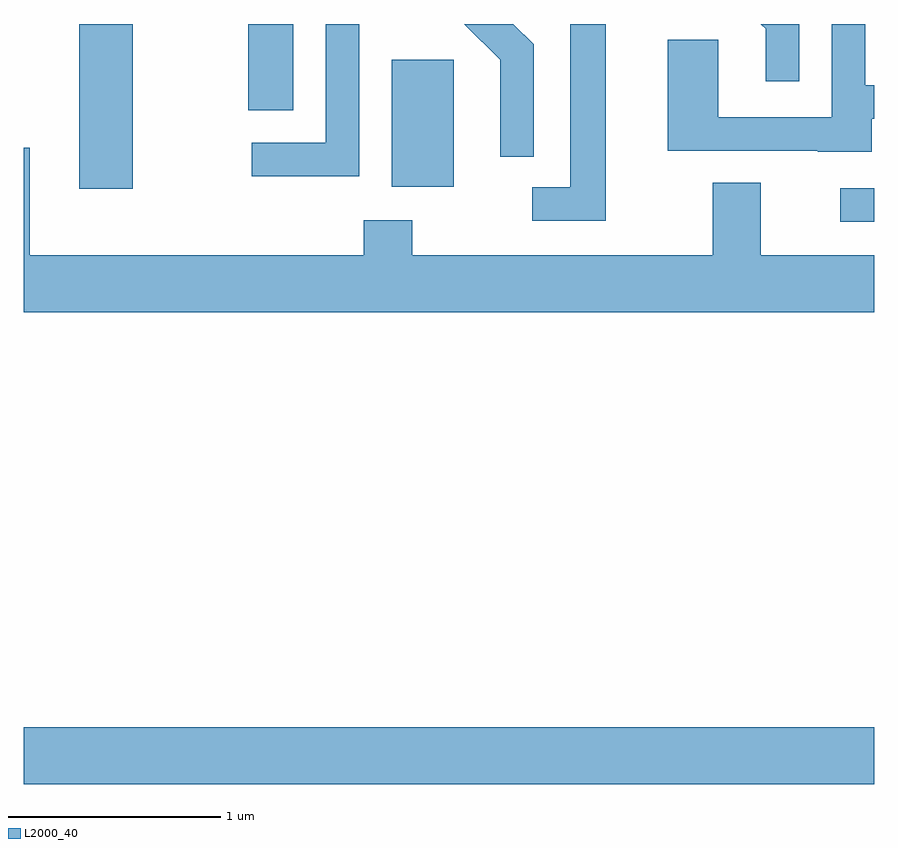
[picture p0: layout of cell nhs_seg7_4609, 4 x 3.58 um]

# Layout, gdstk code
import gdstk
lib = gdstk.Library(unit=1e-6, precision=1e-09)
def R(c, l, rs):  # rectangles x0, y0, x1, y1
    for r in rs: c.add(gdstk.rectangle(r[:2], r[2:], *l))
def P(c, l, *ps):  # polygons
    for p in ps: c.add(gdstk.Polygon(p, *l))
L2000_40 = (2000, 40)

nhs_seg7_4609 = lib.new_cell('nhs_seg7_4609')
R(nhs_seg7_4609, L2000_40, [(325.611,1798.676,329.611,1798.944), (329.453,1801.321,329.611,1801.479), (325.871,1801.476,326.124,1802.252), (327.341,1801.486,327.634,1802.084), (326.666,1801.846,326.879,1802.252)])
P(nhs_seg7_4609, L2000_40, [(328.349,1802.252),(328.181,1802.252),(328.181,1801.484),(328.003,1801.484),(328.003,1801.326),(328.349,1801.326)],
  [(329.259,1802.252),(329.078,1802.252),(329.101,1802.229),(329.101,1801.983),(329.259,1801.983)],
  [(329.599,1801.806),(329.611,1801.806),(329.611,1801.964),(329.569,1801.964),(329.569,1802.252),(329.411,1802.252),(329.411,1801.814),(328.879,1801.814),(328.879,1802.179),(328.641,1802.179),(328.641,1801.656),(329.345,1801.656),(329.345,1801.651),(329.599,1801.651)],
  [(327.189,1802.252),(327.031,1802.252),(327.031,1801.694),(326.683,1801.694),(326.683,1801.536),(327.189,1801.536)],
  [(328.009,1802.157),(327.914,1802.252),(327.683,1802.252),(327.851,1802.084),(327.851,1801.628),(328.009,1801.628)],
  [(329.611,1801.164),(329.079,1801.164),(329.079,1801.504),(328.851,1801.504),(328.851,1801.164),(327.439,1801.164),(327.439,1801.329),(327.211,1801.329),(327.211,1801.164),(325.639,1801.164),(325.639,1801.669),(325.611,1801.669),(325.611,1800.896),(329.611,1800.896)])

lib.write_gds('nhs_seg7_4609.gds')
